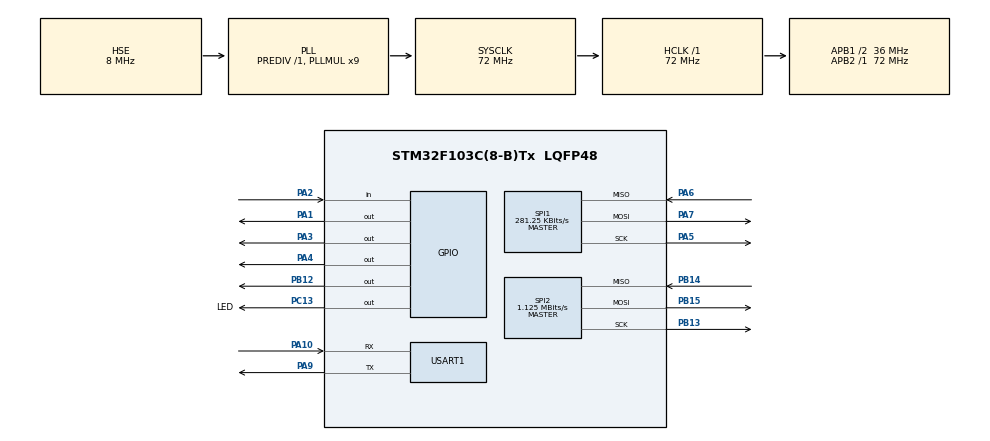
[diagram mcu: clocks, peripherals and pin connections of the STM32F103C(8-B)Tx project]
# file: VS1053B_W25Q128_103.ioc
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Dma.Request0=USART1_RX
Dma.Request1=USART1_TX
Dma.USART1_RX.0.Direction=DMA_PERIPH_TO_MEMORY
Dma.USART1_RX.0.Instance=DMA1_Channel5
Dma.USART1_RX.0.MemDataAlignment=DMA_MDATAALIGN_BYTE
Dma.USART1_RX.0.MemInc=DMA_MINC_ENABLE
Dma.USART1_RX.0.Mode=DMA_NORMAL
Dma.USART1_RX.0.PeriphDataAlignment=DMA_PDATAALIGN_BYTE
Dma.USART1_RX.0.PeriphInc=DMA_PINC_DISABLE
Dma.USART1_RX.0.Priority=DMA_PRIORITY_VERY_HIGH
Dma.USART1_TX.1.Direction=DMA_MEMORY_TO_PERIPH
Dma.USART1_TX.1.Instance=DMA1_Channel4
Dma.USART1_TX.1.MemDataAlignment=DMA_MDATAALIGN_BYTE
Dma.USART1_TX.1.MemInc=DMA_MINC_ENABLE
Dma.USART1_TX.1.Mode=DMA_NORMAL
Dma.USART1_TX.1.PeriphDataAlignment=DMA_PDATAALIGN_BYTE
Dma.USART1_TX.1.PeriphInc=DMA_PINC_DISABLE
Dma.USART1_TX.1.Priority=DMA_PRIORITY_VERY_HIGH
Mcu.Family=STM32F1
Mcu.Name=STM32F103C(8-B)Tx
Mcu.Package=LQFP48
NVIC.DMA1_Channel4_IRQn=true\:0\:0\:false\:false\:true\:false\:true\:true
NVIC.DMA1_Channel5_IRQn=true\:0\:0\:false\:false\:true\:false\:true\:true
NVIC.PriorityGroup=NVIC_PRIORITYGROUP_4
NVIC.TIM4_IRQn=true\:15\:0\:false\:false\:true\:false\:true\:true
NVIC.TimeBase=TIM4_IRQn
NVIC.TimeBaseIP=TIM4
NVIC.USART1_IRQn=true\:0\:0\:false\:false\:true\:true\:true\:true
PA1.Signal=GPIO_Output
PA10.Mode=Asynchronous
PA10.Signal=USART1_RX
PA13.Mode=Serial_Wire
PA13.Signal=SYS_JTMS-SWDIO
PA14.Mode=Serial_Wire
PA14.Signal=SYS_JTCK-SWCLK
PA2.Signal=GPIO_Input
PA3.Signal=GPIO_Output
PA4.Signal=GPIO_Output
PA5.Mode=Full_Duplex_Master
PA5.Signal=SPI1_SCK
PA6.Mode=Full_Duplex_Master
PA6.Signal=SPI1_MISO
PA7.Mode=Full_Duplex_Master
PA7.Signal=SPI1_MOSI
PA9.Mode=Asynchronous
PA9.Signal=USART1_TX
PB12.Signal=GPIO_Output
PB13.Mode=Full_Duplex_Master
PB13.Signal=SPI2_SCK
PB14.Mode=Full_Duplex_Master
PB14.Signal=SPI2_MISO
PB15.Mode=Full_Duplex_Master
PB15.Signal=SPI2_MOSI
PC13-TAMPER-RTC.GPIO_Label=LED
PC13-TAMPER-RTC.Signal=GPIO_Output
PD0-OSC_IN.Mode=HSE-External-Oscillator
PD0-OSC_IN.Signal=RCC_OSC_IN
PD1-OSC_OUT.Mode=HSE-External-Oscillator
PD1-OSC_OUT.Signal=RCC_OSC_OUT
ProjectManager.HeapSize=0x200
ProjectManager.StackSize=0x400
ProjectManager.TargetToolchain=STM32CubeIDE
RCC.AHBFreq_Value=72000000
RCC.APB1CLKDivider=RCC_HCLK_DIV2
RCC.APB1Freq_Value=36000000
RCC.APB1TimFreq_Value=72000000
RCC.APB2Freq_Value=72000000
RCC.APB2TimFreq_Value=72000000
RCC.HCLKFreq_Value=72000000
RCC.PLLMUL=RCC_PLL_MUL9
RCC.PLLSourceVirtual=RCC_PLLSOURCE_HSE
RCC.SYSCLKFreq_VALUE=72000000
RCC.SYSCLKSource=RCC_SYSCLKSOURCE_PLLCLK
RCC.USBFreq_Value=72000000
SPI1.BaudRatePrescaler=SPI_BAUDRATEPRESCALER_256
SPI1.CLKPhase=SPI_PHASE_2EDGE
SPI1.CLKPolarity=SPI_POLARITY_HIGH
SPI1.CalculateBaudRate=281.25 KBits/s
SPI1.Direction=SPI_DIRECTION_2LINES
SPI1.Mode=SPI_MODE_MASTER
SPI1.VirtualType=VM_MASTER
SPI2.BaudRatePrescaler=SPI_BAUDRATEPRESCALER_32
SPI2.CLKPhase=SPI_PHASE_2EDGE
SPI2.CLKPolarity=SPI_POLARITY_HIGH
SPI2.CalculateBaudRate=1.125 MBits/s
SPI2.Direction=SPI_DIRECTION_2LINES
SPI2.Mode=SPI_MODE_MASTER
SPI2.VirtualType=VM_MASTER
USART1.VirtualMode=VM_ASYNC
VP_SYS_VS_tim4.Mode=TIM4
board=custom

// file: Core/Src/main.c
/* USER CODE BEGIN Header */
/**
 ******************************************************************************
 * @file           : main.c
 * @brief          : Main program body
 ******************************************************************************
 * @attention
 *
 * Copyright (c) 2023 STMicroelectronics.
 * All rights reserved.
 *
 * This software is licensed under terms that can be found in the LICENSE file
 * in the root directory of this software component.
 * If no LICENSE file comes with this software, it is provided AS-IS.
 *
 ******************************************************************************
 */
/* USER CODE END Header */
#include "main.h"

/* USER CODE BEGIN Includes */
#include "string.h"
#include "vs1053_ini.h"
#include "vs1053_ini.h"
#include <stdio.h>/* для printf */
#include <stdlib.h>/* для atoi */
uint8_t choice[3] = { '\0' };
uint8_t oldchoice[3] = { '\0' };
uint8_t rx_data[10] = { '\0' };

#define RxBuf_SIZE   16 //512 Данные полученные по UART
#define MainBuf_SIZE 32 //2048 Полученные из UART сохраняем в переменную.

uint8_t music_buf[256];
uint8_t id_flash;
uint32_t addr_pointer = 0;
uint8_t page_pointer = 0;
bool next_page_flag = true;
uint32_t song_end_addr = 0xD65800;
bool pause_flag = false;
bool stop_flag = false;

char *token;
int vol = 0;
/* USER CODE END Includes */

SPI_HandleTypeDef hspi1;
SPI_HandleTypeDef hspi2;

UART_HandleTypeDef huart1;
DMA_HandleTypeDef hdma_usart1_rx;
DMA_HandleTypeDef hdma_usart1_tx;

void SystemClock_Config(void);
static void MX_GPIO_Init(void);
static void MX_DMA_Init(void);
static void MX_SPI1_Init(void);
static void MX_SPI2_Init(void);
static void MX_USART1_UART_Init(void);
/* USER CODE BEGIN PFP */
void send_uart(unsigned char *string) {
	uint16_t len = strlen((const char*) string);
	HAL_UART_Transmit(&huart1, (uint8_t*) string, len, HAL_MAX_DELAY); // transmit in blocking mode
}

int _write(int file, char *ptr, int len) {
	int i;
	HAL_UART_Transmit(&huart1, (uint8_t*) ptr, len, 50);
	for (i = 0; i < len; i++) {
		ITM_SendChar(*ptr++);
	}
	return len;
}
/* USER CODE END PFP */

/* USER CODE BEGIN 0 */
uint8_t RxBuf[RxBuf_SIZE] = { 0 };
uint8_t MainBuf[MainBuf_SIZE] = { 0 };
uint8_t rangeBuf[MainBuf_SIZE] = { 0 };
uint8_t checkBuf[MainBuf_SIZE] = { 0 };

uint16_t oldPos = 0;
uint16_t newPos = 0;

int isOK = 0;
/* USER CODE END 0 */

int main(void)
{

  /* MCU Configuration--------------------------------------------------------*/

  /* Reset of all peripherals, Initializes the Flash interface and the Systick. */
  HAL_Init();

  /* Configure the system clock */
  SystemClock_Config();

  /* Initialize all configured peripherals */
  MX_GPIO_Init();
  MX_DMA_Init();
  MX_SPI1_Init();
  MX_SPI2_Init();
  MX_USART1_UART_Init();
  /* USER CODE BEGIN 2 */
	void play_music(uint32_t addr_pointer, uint32_t song_end_addr) {
		while (addr_pointer < song_end_addr) {
			if (next_page_flag) {
				HAL_GPIO_WritePin(GPIOC, GPIO_PIN_13, GPIO_PIN_RESET);
				flash_read_page(music_buf, addr_pointer, 255);
				page_pointer = 0;
				addr_pointer += 256;
				next_page_flag = false;
				HAL_GPIO_WritePin(GPIOC, GPIO_PIN_13, GPIO_PIN_SET);
			}
			if (vs1053_isDataReq()) {
				if (!pause_flag && !stop_flag) {
					vs1053_send32(&(music_buf[page_pointer]));
					if (page_pointer < 193) {
						page_pointer += 32;
					} else {
						next_page_flag = true;
					}
					if (next_page_flag && addr_pointer >= song_end_addr) {
						break;
					}
				}
//				else if (pause_flag) {
//					//HAL_Delay(3000);
//				}
				else if (stop_flag) {
					stop_flag = false;
					return;
				}
			}
		}
	}

	HAL_UARTEx_ReceiveToIdle_DMA(&huart1, RxBuf, sizeof(RxBuf));
	__HAL_DMA_DISABLE_IT(&hdma_usart1_rx, DMA_IT_HT); // По дефолту HAL активирует прерывания! Мы отключим половину этих функций.

	SPI1->CR1 |= SPI_CR1_SPE;
	SPI2->CR1 |= SPI_CR1_SPE;
	vs1053_init();
	vs1053_reset();
	flash_reset();
	if (get_flash_id())
		printf("Hello world! \r\n");
  /* USER CODE END 2 */

  /* Infinite loop */
	while (1) {

    /* USER CODE BEGIN 3 */
		if (strlen((const char*) MainBuf) != 0) {
			// Скопируем содержимое MainBuf от oldPos до newPos в rangeBuf
			memcpy(rangeBuf, MainBuf + oldPos, newPos - oldPos + 1);
			if (strlen((const char*) rangeBuf) != 0) {
				send_uart(rangeBuf);

				if (rangeBuf[0] != '\n' && rangeBuf[0] != '\r'
						&& rangeBuf[0] == '1') {
					play_music(0, 0x455600); // проигрывание музыки в бесконечном цикле
				} else if (rangeBuf[0] != '\n' && rangeBuf[0] != '\r'
						&& rangeBuf[0] == '2') {
					play_music(0x46A700, 0x89E600); // проигрывание музыки в бесконечном цикле
				} else if (rangeBuf[0] != '\n' && rangeBuf[0] != '\r'
						&& rangeBuf[0] == '3') {
					play_music(0x8B1B00, 0xD65800); // проигрывание музыки в бесконечном цикле
				}

				memset(RxBuf, 0, sizeof(RxBuf)); // Очистим перед внесением данных
				memset(MainBuf, 0, sizeof(MainBuf)); // Очистим
				memset(rangeBuf, 0, sizeof(rangeBuf)); // Очистим
				oldPos = 0;
				newPos = 0;
			}
		}
	}
  /* USER CODE END 3 */
}

void SystemClock_Config(void)
{
  RCC_OscInitTypeDef RCC_OscInitStruct = {0};
  RCC_ClkInitTypeDef RCC_ClkInitStruct = {0};

  /** Initializes the RCC Oscillators according to the specified parameters
  * in the RCC_OscInitTypeDef structure.
  */
  RCC_OscInitStruct.OscillatorType = RCC_OSCILLATORTYPE_HSE;
  RCC_OscInitStruct.HSEState = RCC_HSE_ON;
  RCC_OscInitStruct.HSEPredivValue = RCC_HSE_PREDIV_DIV1;
  RCC_OscInitStruct.HSIState = RCC_HSI_ON;
  RCC_OscInitStruct.PLL.PLLState = RCC_PLL_ON;
  RCC_OscInitStruct.PLL.PLLSource = RCC_PLLSOURCE_HSE;
  RCC_OscInitStruct.PLL.PLLMUL = RCC_PLL_MUL9;
  if (HAL_RCC_OscConfig(&RCC_OscInitStruct) != HAL_OK)
  {
    Error_Handler();
  }

  /** Initializes the CPU, AHB and APB buses clocks
  */
  RCC_ClkInitStruct.ClockType = RCC_CLOCKTYPE_HCLK|RCC_CLOCKTYPE_SYSCLK
                              |RCC_CLOCKTYPE_PCLK1|RCC_CLOCKTYPE_PCLK2;
  RCC_ClkInitStruct.SYSCLKSource = RCC_SYSCLKSOURCE_PLLCLK;
  RCC_ClkInitStruct.AHBCLKDivider = RCC_SYSCLK_DIV1;
  RCC_ClkInitStruct.APB1CLKDivider = RCC_HCLK_DIV2;
  RCC_ClkInitStruct.APB2CLKDivider = RCC_HCLK_DIV1;

  if (HAL_RCC_ClockConfig(&RCC_ClkInitStruct, FLASH_LATENCY_2) != HAL_OK)
  {
    Error_Handler();
  }
}

static void MX_SPI1_Init(void)
{

  /* SPI1 parameter configuration*/
  hspi1.Instance = SPI1;
  hspi1.Init.Mode = SPI_MODE_MASTER;
  hspi1.Init.Direction = SPI_DIRECTION_2LINES;
  hspi1.Init.DataSize = SPI_DATASIZE_8BIT;
  hspi1.Init.CLKPolarity = SPI_POLARITY_HIGH;
  hspi1.Init.CLKPhase = SPI_PHASE_2EDGE;
  hspi1.Init.NSS = SPI_NSS_SOFT;
  hspi1.Init.BaudRatePrescaler = SPI_BAUDRATEPRESCALER_256;
  hspi1.Init.FirstBit = SPI_FIRSTBIT_MSB;
  hspi1.Init.TIMode = SPI_TIMODE_DISABLE;
  hspi1.Init.CRCCalculation = SPI_CRCCALCULATION_DISABLE;
  hspi1.Init.CRCPolynomial = 10;
  if (HAL_SPI_Init(&hspi1) != HAL_OK)
  {
    Error_Handler();
  }

}

static void MX_SPI2_Init(void)
{

  /* SPI2 parameter configuration*/
  hspi2.Instance = SPI2;
  hspi2.Init.Mode = SPI_MODE_MASTER;
  hspi2.Init.Direction = SPI_DIRECTION_2LINES;
  hspi2.Init.DataSize = SPI_DATASIZE_8BIT;
  hspi2.Init.CLKPolarity = SPI_POLARITY_HIGH;
  hspi2.Init.CLKPhase = SPI_PHASE_2EDGE;
  hspi2.Init.NSS = SPI_NSS_SOFT;
  hspi2.Init.BaudRatePrescaler = SPI_BAUDRATEPRESCALER_32;
  hspi2.Init.FirstBit = SPI_FIRSTBIT_MSB;
  hspi2.Init.TIMode = SPI_TIMODE_DISABLE;
  hspi2.Init.CRCCalculation = SPI_CRCCALCULATION_DISABLE;
  hspi2.Init.CRCPolynomial = 10;
  if (HAL_SPI_Init(&hspi2) != HAL_OK)
  {
    Error_Handler();
  }

}

static void MX_USART1_UART_Init(void)
{

  huart1.Instance = USART1;
  huart1.Init.BaudRate = 115200;
  huart1.Init.WordLength = UART_WORDLENGTH_8B;
  huart1.Init.StopBits = UART_STOPBITS_1;
  huart1.Init.Parity = UART_PARITY_NONE;
  huart1.Init.Mode = UART_MODE_TX_RX;
  huart1.Init.HwFlowCtl = UART_HWCONTROL_NONE;
  huart1.Init.OverSampling = UART_OVERSAMPLING_16;
  if (HAL_UART_Init(&huart1) != HAL_OK)
  {
    Error_Handler();
  }

}

static void MX_DMA_Init(void)
{

  /* DMA controller clock enable */
  __HAL_RCC_DMA1_CLK_ENABLE();

  /* DMA interrupt init */
  /* DMA1_Channel4_IRQn interrupt configuration */
  HAL_NVIC_SetPriority(DMA1_Channel4_IRQn, 0, 0);
  HAL_NVIC_EnableIRQ(DMA1_Channel4_IRQn);
  /* DMA1_Channel5_IRQn interrupt configuration */
  HAL_NVIC_SetPriority(DMA1_Channel5_IRQn, 0, 0);
  HAL_NVIC_EnableIRQ(DMA1_Channel5_IRQn);

}

static void MX_GPIO_Init(void)
{
  GPIO_InitTypeDef GPIO_InitStruct = {0};

  /* GPIO Ports Clock Enable */
  __HAL_RCC_GPIOC_CLK_ENABLE();
  __HAL_RCC_GPIOD_CLK_ENABLE();
  __HAL_RCC_GPIOA_CLK_ENABLE();
  __HAL_RCC_GPIOB_CLK_ENABLE();

  /*Configure GPIO pin Output Level */
  HAL_GPIO_WritePin(LED_GPIO_Port, LED_Pin, GPIO_PIN_RESET);

  /*Configure GPIO pin Output Level */
  HAL_GPIO_WritePin(GPIOA, GPIO_PIN_1|GPIO_PIN_3|GPIO_PIN_4, GPIO_PIN_RESET);

  /*Configure GPIO pin Output Level */
  HAL_GPIO_WritePin(GPIOB, GPIO_PIN_12, GPIO_PIN_RESET);

  /*Configure GPIO pin : LED_Pin */
  GPIO_InitStruct.Pin = LED_Pin;
  GPIO_InitStruct.Mode = GPIO_MODE_OUTPUT_PP;
  GPIO_InitStruct.Pull = GPIO_NOPULL;
  GPIO_InitStruct.Speed = GPIO_SPEED_FREQ_LOW;
  HAL_GPIO_Init(LED_GPIO_Port, &GPIO_InitStruct);

  /*Configure GPIO pins : PA1 PA3 PA4 */
  GPIO_InitStruct.Pin = GPIO_PIN_1|GPIO_PIN_3|GPIO_PIN_4;
  GPIO_InitStruct.Mode = GPIO_MODE_OUTPUT_PP;
  GPIO_InitStruct.Pull = GPIO_NOPULL;
  GPIO_InitStruct.Speed = GPIO_SPEED_FREQ_LOW;
  HAL_GPIO_Init(GPIOA, &GPIO_InitStruct);

  /*Configure GPIO pin : PA2 */
  GPIO_InitStruct.Pin = GPIO_PIN_2;
  GPIO_InitStruct.Mode = GPIO_MODE_INPUT;
  GPIO_InitStruct.Pull = GPIO_NOPULL;
  HAL_GPIO_Init(GPIOA, &GPIO_InitStruct);

  /*Configure GPIO pin : PB12 */
  GPIO_InitStruct.Pin = GPIO_PIN_12;
  GPIO_InitStruct.Mode = GPIO_MODE_OUTPUT_PP;
  GPIO_InitStruct.Pull = GPIO_NOPULL;
  GPIO_InitStruct.Speed = GPIO_SPEED_FREQ_LOW;
  HAL_GPIO_Init(GPIOB, &GPIO_InitStruct);

}

/* USER CODE BEGIN 4 */
void HAL_UARTEx_RxEventCallback(UART_HandleTypeDef *huart, uint16_t Size) {
	if (huart->Instance == USART1) {
		oldPos = newPos;  // Update the last position before copying new data

		/* If the data in large and it is about to exceed the buffer size, we have to route it to the start of the buffer
		 * This is to maintain the circular buffer
		 * The old data in the main buffer will be overlapped
		 */
		if (oldPos + Size > MainBuf_SIZE) // If the current position + new data size is greater than the main buffer
		{
			uint16_t datatocopy = MainBuf_SIZE - oldPos; // find out how much space is left in the main buffer
			memcpy((uint8_t*) MainBuf + oldPos, RxBuf, datatocopy); // copy data in that remaining space

			oldPos = 0;  // point to the start of the buffer
			memcpy((uint8_t*) MainBuf, (uint8_t*) RxBuf + datatocopy,
					(Size - datatocopy));  // copy the remaining data
			newPos = (Size - datatocopy);  // update the position
		}

		/* if the current position + new data size is less than the main buffer
		 * we will simply copy the data into the buffer and update the position
		 */
		else {
			memcpy((uint8_t*) MainBuf + oldPos, RxBuf, Size);
			newPos = Size + oldPos;
			// Скопируем содержимое MainBuf от oldPos до newPos в rangeBuf
			for (int i = oldPos; i <= newPos; i++) {
				checkBuf[i - oldPos] = MainBuf[i];
			}

			if (checkBuf[0] == 'p') {
				pause_flag = true;
			} else if (checkBuf[0] == 's') {
				stop_flag = true;
			} else if (checkBuf[0] == 'r') {
				pause_flag = false;
				stop_flag = false;
			}else if (strncmp((const char *)checkBuf, "vol=", 4) == 0) {
				// Извлекаем значение переменной
				pause_flag = true;
				vol = atoi((const char *)checkBuf + 4);
				// Меняем значение громкости.
				vs1053_setvolume(vol,vol);
				pause_flag = false;
			}
		}

		/* start the DMA again */
		HAL_UARTEx_ReceiveToIdle_DMA(&huart1, (uint8_t*) RxBuf, RxBuf_SIZE);
		__HAL_DMA_DISABLE_IT(&hdma_usart1_rx, DMA_IT_HT);

	}

	/****************** PROCESS (Little) THE DATA HERE *********************/

	/* Let's say we want to check for the keyword "OK" within our incoming DATA */
	for (int i = 0; i < Size; i++) {
		if ((RxBuf[i] == 'O') && (RxBuf[i + 1] == 'K')) {
			isOK = 1;
		}
	}
}
/* USER CODE END 4 */

void HAL_TIM_PeriodElapsedCallback(TIM_HandleTypeDef *htim)
{
  if (htim->Instance == TIM4) {
    HAL_IncTick();
  }
}

void Error_Handler(void)
{
	__disable_irq();
	while (1) {
	}
}
